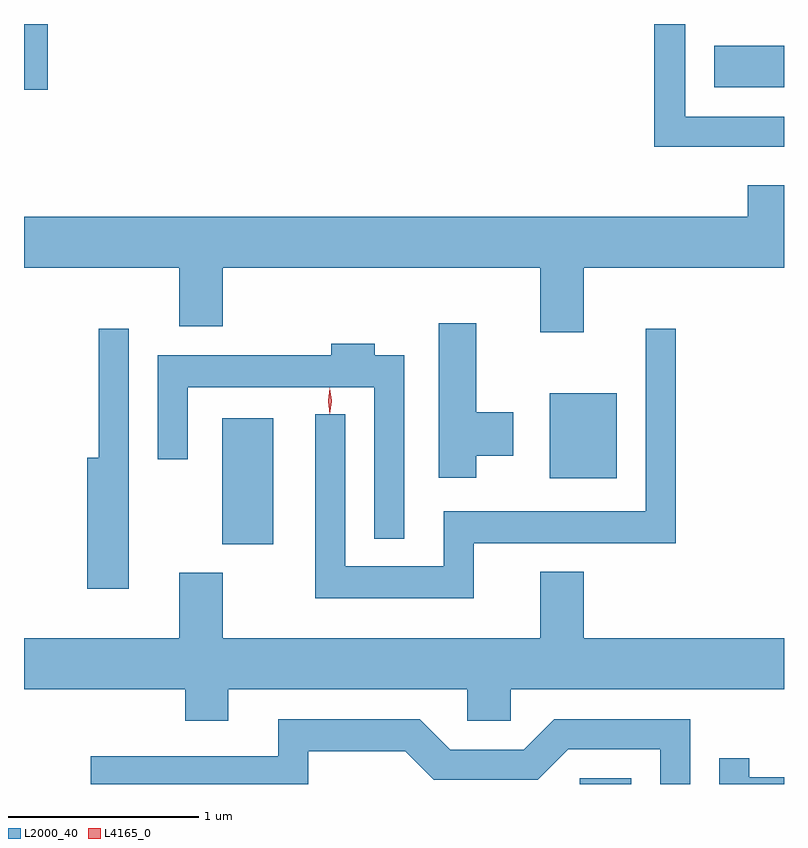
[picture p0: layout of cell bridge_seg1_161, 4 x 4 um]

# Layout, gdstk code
import gdstk
lib = gdstk.Library(unit=1e-6, precision=1e-09)
def R(c, l, rs):  # rectangles x0, y0, x1, y1
    for r in rs: c.add(gdstk.rectangle(r[:2], r[2:], *l))
def P(c, l, *ps):  # polygons
    for p in ps: c.add(gdstk.Polygon(p, *l))
L2000_40 = (2000, 40)
L4165_0 = (4165, 0)

bridge_seg1_161 = lib.new_cell('bridge_seg1_161')
R(bridge_seg1_161, L2000_40, [(769.928,945.698,770.199,945.729), (768.046,946.961,768.314,947.624), (769.771,947.306,770.124,947.754), (767.003,949.351,767.129,949.698), (770.636,949.366,771.003,949.584)])
P(bridge_seg1_161, L2000_40, [(771.003,949.209),(770.484,949.209),(770.484,949.698),(770.321,949.698),(770.321,949.051),(771.003,949.051)],
  [(769.949,948.416),(771.003,948.416),(771.003,948.849),(770.811,948.849),(770.811,948.684),(767.003,948.684),(767.003,948.416),(767.821,948.416),(767.821,948.106),(768.049,948.106),(768.049,948.416),(769.721,948.416),(769.721,948.076),(769.949,948.076)],
  [(769.384,947.426),(769.579,947.426),(769.579,947.654),(769.384,947.654),(769.384,948.124),(769.186,948.124),(769.186,947.311),(769.384,947.311)],
  [(767.554,948.093),(767.396,948.093),(767.396,947.414),(767.336,947.414),(767.336,946.726),(767.554,946.726)],
  [(769.369,946.966),(770.434,946.966),(770.434,948.093),(770.276,948.093),(770.276,947.134),(769.211,947.134),(769.211,946.844),(768.694,946.844),(768.694,947.643),(768.536,947.643),(768.536,946.676),(769.369,946.676)],
  [(769.004,947.954),(768.849,947.954),(768.849,948.014),(768.621,948.014),(768.621,947.954),(767.706,947.954),(767.706,947.408),(767.864,947.408),(767.864,947.786),(768.846,947.786),(768.846,946.988),(769.004,946.988)],
  [(767.851,946.031),(768.079,946.031),(768.079,946.196),(769.336,946.196),(769.336,946.031),(769.564,946.031),(769.564,946.196),(771.003,946.196),(771.003,946.464),(769.949,946.464),(769.949,946.814),(769.721,946.814),(769.721,946.464),(768.049,946.464),(768.049,946.809),(767.821,946.809),(767.821,946.464),(767.003,946.464),(767.003,946.196),(767.851,946.196)],
  [(768.499,945.871),(769.009,945.871),(769.159,945.721),(769.707,945.721),(769.867,945.881),(770.351,945.881),(770.351,945.698),(770.509,945.698),(770.509,946.039),(769.794,946.039),(769.634,945.879),(769.247,945.879),(769.087,946.039),(768.341,946.039),(768.341,945.844),(767.353,945.844),(767.353,945.698),(768.499,945.698)],
  [(771.003,945.734),(770.819,945.734),(770.819,945.833),(770.661,945.833),(770.661,945.698),(771.003,945.698)])
P(bridge_seg1_161, L4165_0, [(768.613,947.643),(768.612,947.644),(768.603,947.713),(768.612,947.782),(768.613,947.783),(768.613,947.782),(768.623,947.713),(768.613,947.644)],
  [(768.612,947.647),(768.603,947.714),(768.612,947.78),(768.612,947.78),(768.613,947.78),(768.622,947.714),(768.613,947.647),(768.613,947.647)])

lib.write_gds('bridge_seg1_161.gds')
